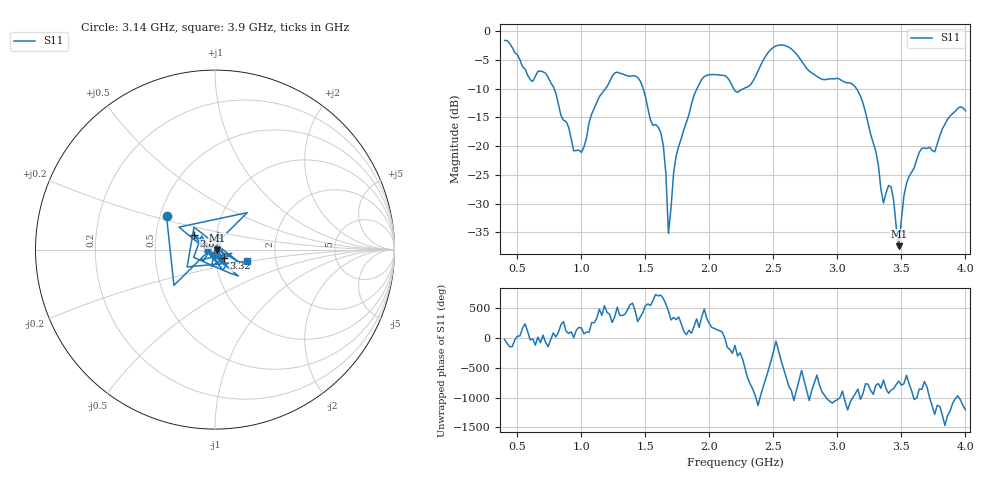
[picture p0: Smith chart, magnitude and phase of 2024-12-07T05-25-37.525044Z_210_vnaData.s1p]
!Created with skrf (http://scikit-rf.org).
# Hz S RI R 50.0
!freq ReS11 ImS11
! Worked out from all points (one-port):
!   181 points, 400 MHz to 4 GHz, reference 50 ohm
!   lowest |S11| = -37.4 dB at 3.48 GHz (marker M1), VSWR 1.03, Z = 51.4 - j0.145 ohm
!   |S11| at or under -10 dB: 787.1 MHz to 1.188 GHz (400.6 MHz wide, 40.6 % of centre); 1.483 GHz to 1.903 GHz (419.7 MHz wide, 24.8 % of centre); 3.149 GHz to end of sweep (the widest 3 of 4)
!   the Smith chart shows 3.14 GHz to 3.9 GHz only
!   S11 on the Smith chart (normalised r, x): 3.14 GHz: 0.54, +0.23; 3.32 GHz: 1.10, -0.11; 3.82 GHz: 0.78, +0.13; 3.9 GHz: 1.43, -0.19
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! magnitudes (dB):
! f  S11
! 400 MHz  -1.6
! 600 MHz  -8.4
! 720 MHz  -7.3
! 860 MHz  -15.5
! 1 GHz  -21.1
! 1.14 GHz  -11.4
! 1.3 GHz  -7.3
! 1.46 GHz  -8.6
! 1.62 GHz  -17.6
! 1.66 GHz  -24.8
! 1.68 GHz  -35.2
! 1.72 GHz  -24.8
! 1.76 GHz  -20.0
! 1.96 GHz  -7.9
! 2.2 GHz  -10.4
! 2.5 GHz  -2.8
! 2.66 GHz  -3.5
! 3.1 GHz  -9.0
! 3.14 GHz  -9.7
! 3.32 GHz  -23.3
! 3.36 GHz  -29.9
! 3.42 GHz  -27.1
! 3.48 GHz  -37.4
! 3.52 GHz  -28.6
! 3.56 GHz  -25.3
! 3.82 GHz  -17.0
! 3.9 GHz  -14.3
! 4 GHz  -13.8
